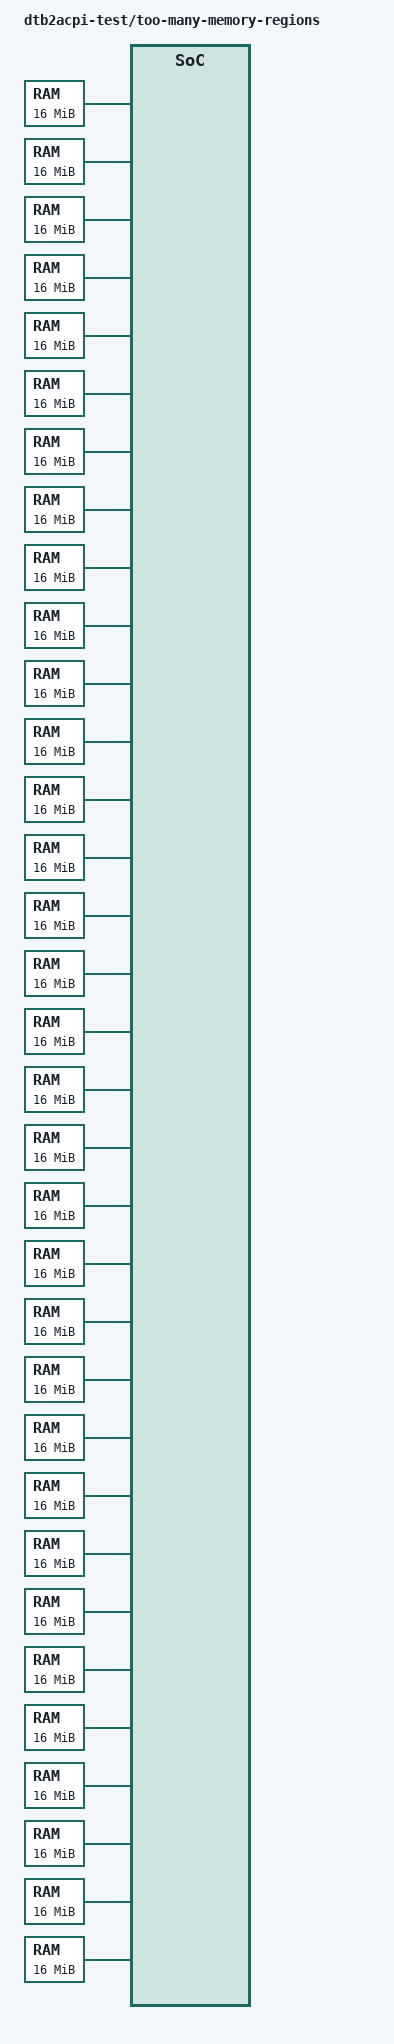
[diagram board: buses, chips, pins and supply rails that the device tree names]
/dts-v1/;

/* 33 memory regions (cap = 32) — the 33rd push triggers
 * DtbError::TooManyMemoryRegions { found: 33 }.
 */
/ {
	#address-cells = <2>;
	#size-cells = <2>;
	model = "dtb2acpi-test/too-many-memory-regions";

	cpus {
		#address-cells = <1>;
		#size-cells = <0>;

		cpu@0 {
			device_type = "cpu";
			reg = <0>;
		};
	};

		lapic: interrupt-controller@fee00000 {
		compatible = "intel,ce4100-lapic";
		reg = <0x0 0xfee00000 0x0 0x1000>;
		interrupt-controller;
		#interrupt-cells = <2>;
	};

	memory@40000000 {
		device_type = "memory";
		reg = <0x0 0x40000000 0x0 0x1000000>;
	};
	memory@41000000 {
		device_type = "memory";
		reg = <0x0 0x41000000 0x0 0x1000000>;
	};
	memory@42000000 {
		device_type = "memory";
		reg = <0x0 0x42000000 0x0 0x1000000>;
	};
	memory@43000000 {
		device_type = "memory";
		reg = <0x0 0x43000000 0x0 0x1000000>;
	};
	memory@44000000 {
		device_type = "memory";
		reg = <0x0 0x44000000 0x0 0x1000000>;
	};
	memory@45000000 {
		device_type = "memory";
		reg = <0x0 0x45000000 0x0 0x1000000>;
	};
	memory@46000000 {
		device_type = "memory";
		reg = <0x0 0x46000000 0x0 0x1000000>;
	};
	memory@47000000 {
		device_type = "memory";
		reg = <0x0 0x47000000 0x0 0x1000000>;
	};
	memory@48000000 {
		device_type = "memory";
		reg = <0x0 0x48000000 0x0 0x1000000>;
	};
	memory@49000000 {
		device_type = "memory";
		reg = <0x0 0x49000000 0x0 0x1000000>;
	};
	memory@4a000000 {
		device_type = "memory";
		reg = <0x0 0x4a000000 0x0 0x1000000>;
	};
	memory@4b000000 {
		device_type = "memory";
		reg = <0x0 0x4b000000 0x0 0x1000000>;
	};
	memory@4c000000 {
		device_type = "memory";
		reg = <0x0 0x4c000000 0x0 0x1000000>;
	};
	memory@4d000000 {
		device_type = "memory";
		reg = <0x0 0x4d000000 0x0 0x1000000>;
	};
	memory@4e000000 {
		device_type = "memory";
		reg = <0x0 0x4e000000 0x0 0x1000000>;
	};
	memory@4f000000 {
		device_type = "memory";
		reg = <0x0 0x4f000000 0x0 0x1000000>;
	};
	memory@50000000 {
		device_type = "memory";
		reg = <0x0 0x50000000 0x0 0x1000000>;
	};
	memory@51000000 {
		device_type = "memory";
		reg = <0x0 0x51000000 0x0 0x1000000>;
	};
	memory@52000000 {
		device_type = "memory";
		reg = <0x0 0x52000000 0x0 0x1000000>;
	};
	memory@53000000 {
		device_type = "memory";
		reg = <0x0 0x53000000 0x0 0x1000000>;
	};
	memory@54000000 {
		device_type = "memory";
		reg = <0x0 0x54000000 0x0 0x1000000>;
	};
	memory@55000000 {
		device_type = "memory";
		reg = <0x0 0x55000000 0x0 0x1000000>;
	};
	memory@56000000 {
		device_type = "memory";
		reg = <0x0 0x56000000 0x0 0x1000000>;
	};
	memory@57000000 {
		device_type = "memory";
		reg = <0x0 0x57000000 0x0 0x1000000>;
	};
	memory@58000000 {
		device_type = "memory";
		reg = <0x0 0x58000000 0x0 0x1000000>;
	};
	memory@59000000 {
		device_type = "memory";
		reg = <0x0 0x59000000 0x0 0x1000000>;
	};
	memory@5a000000 {
		device_type = "memory";
		reg = <0x0 0x5a000000 0x0 0x1000000>;
	};
	memory@5b000000 {
		device_type = "memory";
		reg = <0x0 0x5b000000 0x0 0x1000000>;
	};
	memory@5c000000 {
		device_type = "memory";
		reg = <0x0 0x5c000000 0x0 0x1000000>;
	};
	memory@5d000000 {
		device_type = "memory";
		reg = <0x0 0x5d000000 0x0 0x1000000>;
	};
	memory@5e000000 {
		device_type = "memory";
		reg = <0x0 0x5e000000 0x0 0x1000000>;
	};
	memory@5f000000 {
		device_type = "memory";
		reg = <0x0 0x5f000000 0x0 0x1000000>;
	};
	memory@60000000 {
		device_type = "memory";
		reg = <0x0 0x60000000 0x0 0x1000000>;
	};
		poweroff@9010000 {
		compatible = "syscon-poweroff";
		reg = <0x0 0x9010000 0x0 0x4>;
	};
};
